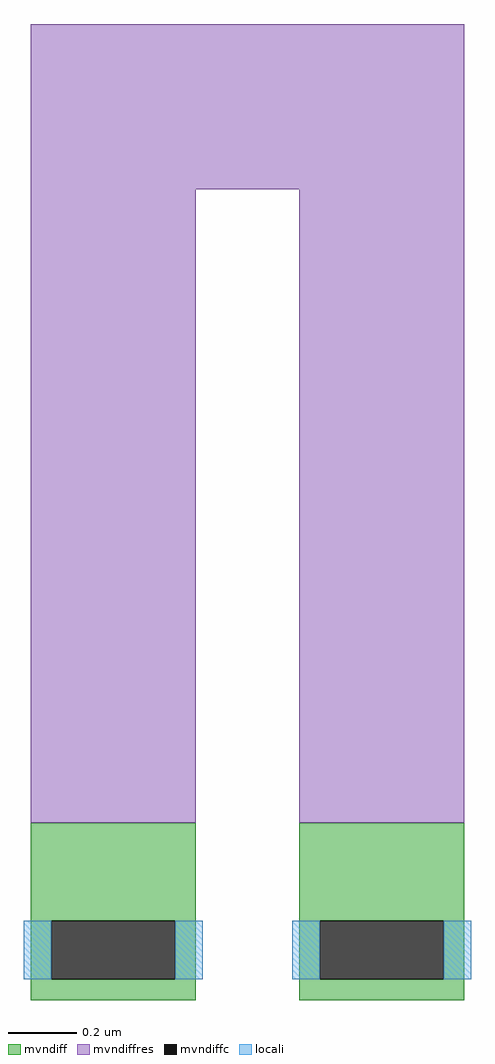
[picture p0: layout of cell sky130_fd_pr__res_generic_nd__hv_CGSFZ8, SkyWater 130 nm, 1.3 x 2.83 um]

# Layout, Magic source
magic
tech sky130A
magscale 1 2
<< mvndiff >>
rect -126 -237 -30 -180
rect -126 -271 -114 -237
rect -42 -271 -30 -237
rect -126 -283 -30 -271
rect 30 -237 126 -180
rect 30 -271 42 -237
rect 114 -271 126 -237
rect 30 -283 126 -271
<< mvndiffc >>
rect -114 -271 -42 -237
rect 42 -271 114 -237
<< mvndiffres >>
rect -126 188 126 284
rect -126 -180 -30 188
rect 30 -180 126 188
<< locali >>
rect -130 -271 -114 -237
rect -42 -271 -26 -237
rect 26 -271 42 -237
rect 114 -271 130 -237
<< properties >>
string gencell sky130_fd_pr__res_generic_nd__hv
string library sky130
string parameters w 0.48 l 2.1 m 1 nx 2 wmin 0.42 lmin 2.10 rho 120 val 1.32k dummy 0 dw 0.02 term 0.0 sterm 0.0 caplen 0.4 snake 1 guard 0 glc 1 grc 1 gtc 1 gbc 1 roverlap 0 endcov 100 full_metal 1 vias 1 viagb 0 viagt 0 viagl 0 viagr 0
<< end >>
